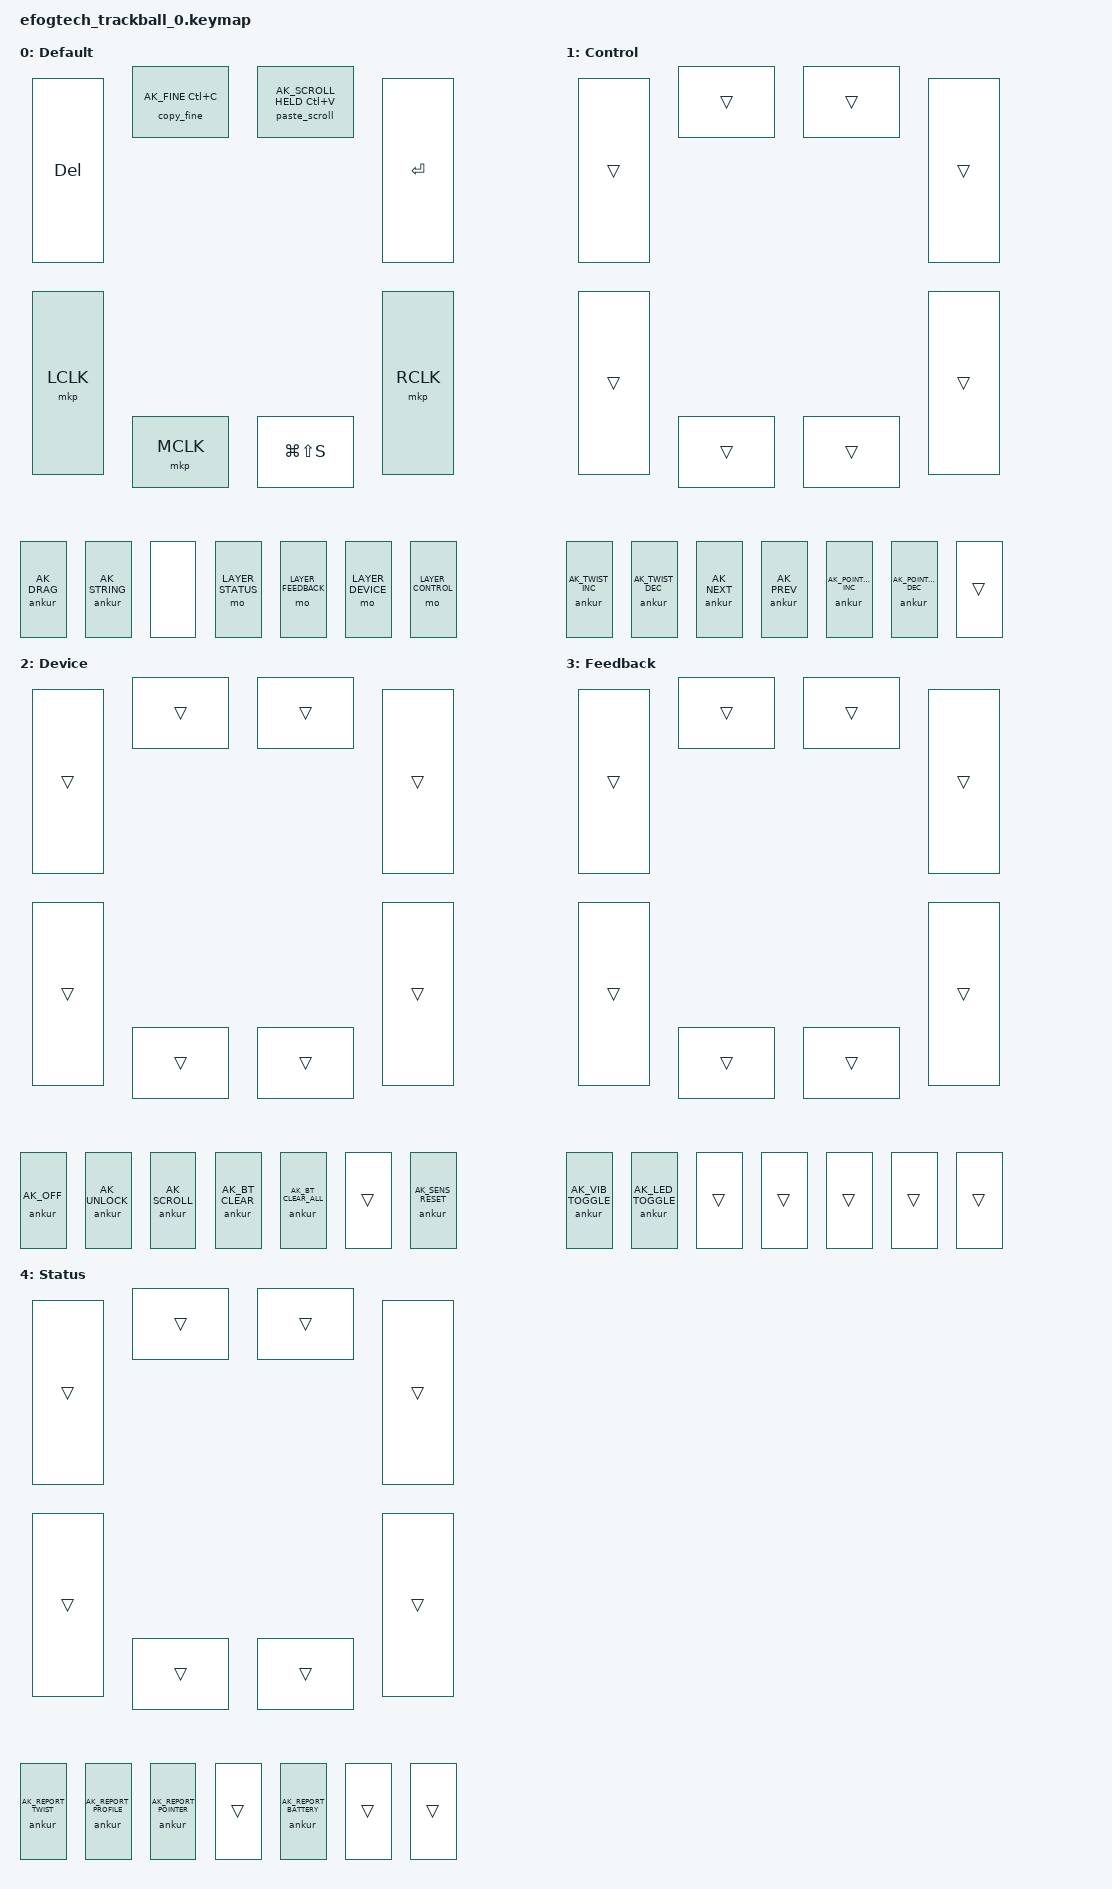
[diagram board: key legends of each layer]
#include <behaviors.dtsi>
#include <dt-bindings/zmk/keys.h>
#include <dt-bindings/zmk/pointing.h>
#include <dt-bindings/ankur/actions.h>

#define LAYER_DEFAULT  0
#define LAYER_CONTROL  1
#define LAYER_DEVICE   2
#define LAYER_FEEDBACK 3
#define LAYER_STATUS   4

/ {
	ankur_modes: ankur_modes {
		compatible = "ankur,pointer-modes";
		#input-processor-cells = <0>;
		pipeline-devices = <&zip_bistable_twist_scaler>, <&zip_twist_full_notch_scaler>,
			<&zip_pointer_accel>,
			<&zip_scroll_accel>, <&zip_rotate_pointer>, <&zip_bistable_snipe_scaler>,
			<&zip_bistable_scroll_xy_scaler>, <&zip_axis_clamper>,
			<&zip_xy_to_scroll_mapper>, <&zip_scroll_transform>,
			<&zip_dragscroll_accel>, <&zip_rotate_scroll>;
	};

	keymap {
		compatible = "zmk,keymap";

		default_layer {
			display-name = "Default";
			bindings = <
				&copy_fine AK_FINE LC(C)       &paste_scroll AK_SCROLL_HELD LC(V)
				&kp DELETE                     &kp ENTER
				&mkp LCLK                      &mkp RCLK
				&mkp MCLK                      &kp LG(LS(S))
				&ankur AK_DRAG                 &ankur AK_STRING
				&none                          &mo LAYER_STATUS
				&mo LAYER_FEEDBACK             &mo LAYER_DEVICE
				&mo LAYER_CONTROL
			>;
		};

		control_layer {
			display-name = "Control";
			bindings = <
				&trans                         &trans
				&trans                         &trans
				&trans                         &trans
				&trans                         &trans
				&ankur AK_TWIST_INC            &ankur AK_TWIST_DEC
				&ankur AK_NEXT                 &ankur AK_PREV
				&ankur AK_POINTER_INC          &ankur AK_POINTER_DEC
				&trans
			>;
		};

		device_layer {
			display-name = "Device";
			bindings = <
				&trans                         &trans
				&trans                         &trans
				&trans                         &trans
				&trans                         &trans
				&ankur AK_OFF                  &ankur AK_UNLOCK
				&ankur AK_SCROLL               &ankur AK_BT_CLEAR
				&ankur AK_BT_CLEAR_ALL         &trans
				&ankur AK_SENS_RESET
			>;
		};

		feedback_layer {
			display-name = "Feedback";
			bindings = <
				&trans                         &trans
				&trans                         &trans
				&trans                         &trans
				&trans                         &trans
				&ankur AK_VIB_TOGGLE           &ankur AK_LED_TOGGLE
				&trans                         &trans
				&trans                         &trans
				&trans
			>;
		};

		status_layer {
			display-name = "Status";
			bindings = <
				&trans                         &trans
				&trans                         &trans
				&trans                         &trans
				&trans                         &trans
				&ankur AK_REPORT_TWIST         &ankur AK_REPORT_PROFILE
				&ankur AK_REPORT_POINTER       &trans
				&ankur AK_REPORT_BATTERY       &trans
				&trans
			>;
		};
	};

	trackball {
		input-processors = <&ankur_modes>, <&esb_ip>, <&zip_ble_report_rate_limit>;
	};
};
